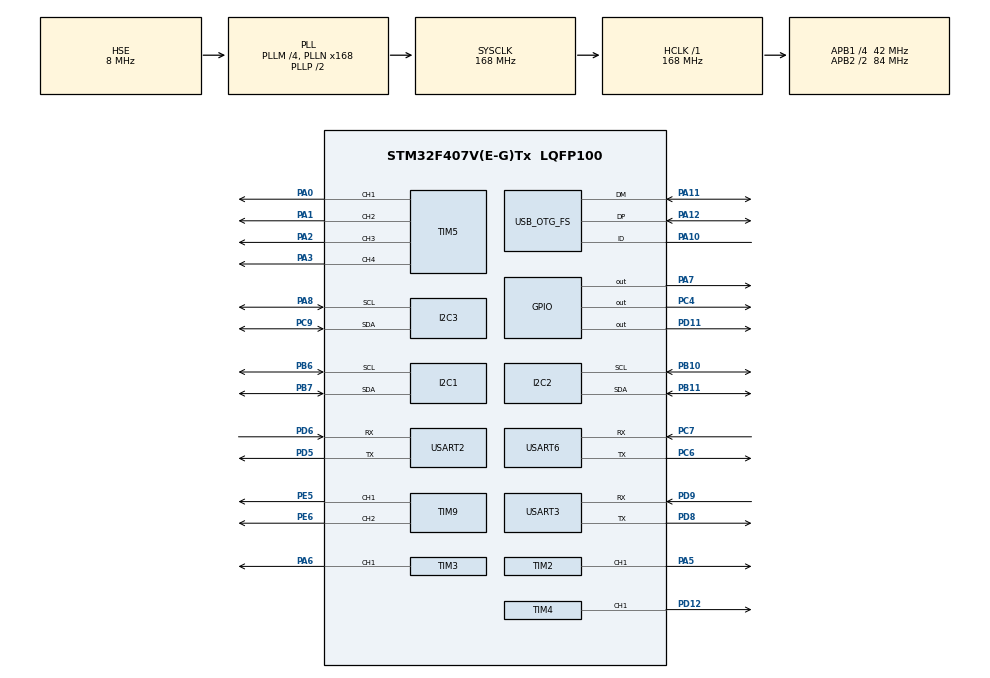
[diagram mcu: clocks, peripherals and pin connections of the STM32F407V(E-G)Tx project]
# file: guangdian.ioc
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Dma.I2C1_RX.0.Direction=DMA_PERIPH_TO_MEMORY
Dma.I2C1_RX.0.FIFOMode=DMA_FIFOMODE_DISABLE
Dma.I2C1_RX.0.Instance=DMA1_Stream0
Dma.I2C1_RX.0.MemDataAlignment=DMA_MDATAALIGN_BYTE
Dma.I2C1_RX.0.MemInc=DMA_MINC_ENABLE
Dma.I2C1_RX.0.Mode=DMA_NORMAL
Dma.I2C1_RX.0.PeriphDataAlignment=DMA_PDATAALIGN_BYTE
Dma.I2C1_RX.0.PeriphInc=DMA_PINC_DISABLE
Dma.I2C1_RX.0.Priority=DMA_PRIORITY_LOW
Dma.I2C1_TX.1.Direction=DMA_MEMORY_TO_PERIPH
Dma.I2C1_TX.1.FIFOMode=DMA_FIFOMODE_DISABLE
Dma.I2C1_TX.1.Instance=DMA1_Stream6
Dma.I2C1_TX.1.MemDataAlignment=DMA_MDATAALIGN_BYTE
Dma.I2C1_TX.1.MemInc=DMA_MINC_ENABLE
Dma.I2C1_TX.1.Mode=DMA_NORMAL
Dma.I2C1_TX.1.PeriphDataAlignment=DMA_PDATAALIGN_BYTE
Dma.I2C1_TX.1.PeriphInc=DMA_PINC_DISABLE
Dma.I2C1_TX.1.Priority=DMA_PRIORITY_LOW
Dma.Request0=I2C1_RX
Dma.Request1=I2C1_TX
Dma.Request2=USART6_RX
Dma.Request3=USART6_TX
Dma.USART6_RX.2.Direction=DMA_PERIPH_TO_MEMORY
Dma.USART6_RX.2.FIFOMode=DMA_FIFOMODE_DISABLE
Dma.USART6_RX.2.Instance=DMA2_Stream1
Dma.USART6_RX.2.MemDataAlignment=DMA_MDATAALIGN_BYTE
Dma.USART6_RX.2.MemInc=DMA_MINC_ENABLE
Dma.USART6_RX.2.Mode=DMA_NORMAL
Dma.USART6_RX.2.PeriphDataAlignment=DMA_PDATAALIGN_BYTE
Dma.USART6_RX.2.PeriphInc=DMA_PINC_DISABLE
Dma.USART6_RX.2.Priority=DMA_PRIORITY_LOW
Dma.USART6_TX.3.Direction=DMA_MEMORY_TO_PERIPH
Dma.USART6_TX.3.FIFOMode=DMA_FIFOMODE_DISABLE
Dma.USART6_TX.3.Instance=DMA2_Stream6
Dma.USART6_TX.3.MemDataAlignment=DMA_MDATAALIGN_BYTE
Dma.USART6_TX.3.MemInc=DMA_MINC_ENABLE
Dma.USART6_TX.3.Mode=DMA_NORMAL
Dma.USART6_TX.3.PeriphDataAlignment=DMA_PDATAALIGN_BYTE
Dma.USART6_TX.3.PeriphInc=DMA_PINC_DISABLE
Dma.USART6_TX.3.Priority=DMA_PRIORITY_LOW
FREERTOS.Tasks01=defaultTask,24,128,StartDefaultTask,Default,NULL,Dynamic,NULL,NULL
Mcu.Family=STM32F4
Mcu.Name=STM32F407V(E-G)Tx
Mcu.Package=LQFP100
NVIC.DMA1_Stream0_IRQn=true\:5\:0\:false\:false\:true\:true\:false\:true\:true
NVIC.DMA1_Stream6_IRQn=true\:5\:0\:false\:false\:true\:true\:false\:true\:true
NVIC.DMA2_Stream1_IRQn=true\:5\:0\:false\:false\:true\:true\:false\:true\:true
NVIC.DMA2_Stream6_IRQn=true\:5\:0\:false\:false\:true\:true\:false\:true\:true
NVIC.PriorityGroup=NVIC_PRIORITYGROUP_4
NVIC.TIM8_TRG_COM_TIM14_IRQn=true\:15\:0\:false\:false\:true\:false\:false\:true\:true
NVIC.TimeBase=TIM8_TRG_COM_TIM14_IRQn
NVIC.TimeBaseIP=TIM14
PA0-WKUP.Signal=S_TIM5_CH1
PA1.Signal=S_TIM5_CH2
PA10.Mode=OTG/Dual_Role_Device
PA10.Signal=USB_OTG_FS_ID
PA11.Mode=OTG/Dual_Role_Device
PA11.Signal=USB_OTG_FS_DM
PA12.Mode=OTG/Dual_Role_Device
PA12.Signal=USB_OTG_FS_DP
PA13.Mode=JTAG_4_pins
PA13.Signal=SYS_JTMS-SWDIO
PA14.Mode=JTAG_4_pins
PA14.Signal=SYS_JTCK-SWCLK
PA15.Mode=JTAG_4_pins
PA15.Signal=SYS_JTDI
PA2.Signal=S_TIM5_CH3
PA3.Signal=S_TIM5_CH4
PA5.Signal=S_TIM2_CH1_ETR
PA6.Signal=S_TIM3_CH1
PA7.Signal=GPIO_Output
PA8.Mode=I2C
PA8.Signal=I2C3_SCL
PB10.Mode=I2C
PB10.Signal=I2C2_SCL
PB11.Mode=I2C
PB11.Signal=I2C2_SDA
PB3.Mode=JTAG_4_pins
PB3.Signal=SYS_JTDO-SWO
PB6.Mode=I2C
PB6.Signal=I2C1_SCL
PB7.Mode=I2C
PB7.Signal=I2C1_SDA
PC4.Signal=GPIO_Output
PC6.Mode=Asynchronous
PC6.Signal=USART6_TX
PC7.Mode=Asynchronous
PC7.Signal=USART6_RX
PC9.Mode=I2C
PC9.Signal=I2C3_SDA
PD11.Signal=GPIO_Output
PD12.Signal=S_TIM4_CH1
PD5.Mode=Asynchronous
PD5.Signal=USART2_TX
PD6.Mode=Asynchronous
PD6.Signal=USART2_RX
PD8.Mode=Asynchronous
PD8.Signal=USART3_TX
PD9.Mode=Asynchronous
PD9.Signal=USART3_RX
PE5.Signal=S_TIM9_CH1
PE6.Signal=S_TIM9_CH2
PH0-OSC_IN.Mode=HSE-External-Oscillator
PH0-OSC_IN.Signal=RCC_OSC_IN
PH1-OSC_OUT.Mode=HSE-External-Oscillator
PH1-OSC_OUT.Signal=RCC_OSC_OUT
ProjectManager.HeapSize=0x200
ProjectManager.StackSize=0x400
ProjectManager.TargetToolchain=MDK-ARM V5.32
RCC.48MHZClocksFreq_Value=48000000
RCC.AHBFreq_Value=168000000
RCC.APB1CLKDivider=RCC_HCLK_DIV4
RCC.APB1Freq_Value=42000000
RCC.APB1TimFreq_Value=84000000
RCC.APB2CLKDivider=RCC_HCLK_DIV2
RCC.APB2Freq_Value=84000000
RCC.APB2TimFreq_Value=168000000
RCC.CortexFreq_Value=168000000
RCC.HCLKFreq_Value=168000000
RCC.HSE_VALUE=8000000
RCC.HSI_VALUE=16000000
RCC.LSE_VALUE=32768
RCC.PLLM=4
RCC.PLLN=168
RCC.PLLQ=7
RCC.SYSCLKFreq_VALUE=168000000
RCC.SYSCLKSource=RCC_SYSCLKSOURCE_PLLCLK
RCC.VCOOutputFreq_Value=336000000
SH.S_TIM2_CH1_ETR.0=TIM2_CH1,PWM Generation1 CH1
SH.S_TIM3_CH1.0=TIM3_CH1,PWM Generation1 CH1
SH.S_TIM4_CH1.0=TIM4_CH1,PWM Generation1 CH1
SH.S_TIM5_CH1.0=TIM5_CH1,PWM Generation1 CH1
SH.S_TIM5_CH2.0=TIM5_CH2,PWM Generation2 CH2
SH.S_TIM5_CH3.0=TIM5_CH3,PWM Generation3 CH3
SH.S_TIM5_CH4.0=TIM5_CH4,PWM Generation4 CH4
SH.S_TIM9_CH1.0=TIM9_CH1,PWM Generation1 CH1
SH.S_TIM9_CH2.0=TIM9_CH2,PWM Generation2 CH2
TIM2.AutoReloadPreload=TIM_AUTORELOAD_PRELOAD_ENABLE
TIM2.Channel-PWM\ Generation1\ CH1=TIM_CHANNEL_1
TIM2.Period=65535
TIM2.Prescaler=83
TIM3.AutoReloadPreload=TIM_AUTORELOAD_PRELOAD_ENABLE
TIM3.Channel-PWM\ Generation1\ CH1=TIM_CHANNEL_1
TIM3.Prescaler=83
TIM4.AutoReloadPreload=TIM_AUTORELOAD_PRELOAD_ENABLE
TIM4.Channel-PWM\ Generation1\ CH1=TIM_CHANNEL_1
TIM4.Prescaler=83
TIM5.Channel-PWM\ Generation1\ CH1=TIM_CHANNEL_1
TIM5.Channel-PWM\ Generation2\ CH2=TIM_CHANNEL_2
TIM5.Channel-PWM\ Generation3\ CH3=TIM_CHANNEL_3
TIM5.Channel-PWM\ Generation4\ CH4=TIM_CHANNEL_4
TIM9.Channel-PWM\ Generation1\ CH1=TIM_CHANNEL_1
TIM9.Channel-PWM\ Generation2\ CH2=TIM_CHANNEL_2
USART2.VirtualMode=VM_ASYNC
USART3.VirtualMode=VM_ASYNC
USART6.VirtualMode=VM_ASYNC
VP_FREERTOS_VS_CMSIS_V2.Mode=CMSIS_V2
VP_SYS_VS_tim14.Mode=TIM14
board=custom

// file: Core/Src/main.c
/* USER CODE BEGIN Header */
/**
  ******************************************************************************
  * @file           : main.c
  * @brief          : Main program body
  ******************************************************************************
  * @attention
  *
  * Copyright (c) 2026 STMicroelectronics.
  * All rights reserved.
  *
  * This software is licensed under terms that can be found in the LICENSE file
  * in the root directory of this software component.
  * If no LICENSE file comes with this software, it is provided AS-IS.
  *
  ******************************************************************************
  */
/* USER CODE END Header */
#include "main.h"
#include "cmsis_os.h"
#include "dma.h"
#include "i2c.h"
#include "tim.h"
#include "usart.h"
#include "usb_otg.h"
#include "gpio.h"

void SystemClock_Config(void);
void MX_FREERTOS_Init(void);

int main(void)
{

  /* MCU Configuration--------------------------------------------------------*/

  /* Reset of all peripherals, Initializes the Flash interface and the Systick. */
  HAL_Init();

  /* USER CODE BEGIN Init */
HAL_Delay(1000);  /* 等待电源稳定, 避免 I2C 总线异常 */
  /* USER CODE END Init */

  /* Configure the system clock */
  SystemClock_Config();

  /* Initialize all configured peripherals */
  MX_GPIO_Init();
  MX_DMA_Init();
  MX_I2C1_Init();
  MX_I2C2_Init();
  MX_I2C3_Init();
  MX_TIM2_Init();
  MX_TIM3_Init();
  MX_TIM4_Init();
  MX_TIM5_Init();
  MX_TIM9_Init();
  MX_USART2_UART_Init();
  MX_USART3_UART_Init();
  MX_USART6_UART_Init();
  MX_USB_OTG_FS_USB_Init();
  /* USER CODE BEGIN 2 */

  // GraySensor_Init();

  /* USER CODE END 2 */

  /* Init scheduler */
  osKernelInitialize();  /* Call init function for freertos objects (in cmsis_os2.c) */
  MX_FREERTOS_Init();

  /* Start scheduler */
  osKernelStart();

  /* We should never get here as control is now taken by the scheduler */

  /* Infinite loop */
  while (1)
  {

  }
}

void SystemClock_Config(void)
{
  RCC_OscInitTypeDef RCC_OscInitStruct = {0};
  RCC_ClkInitTypeDef RCC_ClkInitStruct = {0};

  /** Configure the main internal regulator output voltage
  */
  __HAL_RCC_PWR_CLK_ENABLE();
  __HAL_PWR_VOLTAGESCALING_CONFIG(PWR_REGULATOR_VOLTAGE_SCALE1);

  /** Initializes the RCC Oscillators according to the specified parameters
  * in the RCC_OscInitTypeDef structure.
  */
  RCC_OscInitStruct.OscillatorType = RCC_OSCILLATORTYPE_HSE;
  RCC_OscInitStruct.HSEState = RCC_HSE_ON;
  RCC_OscInitStruct.PLL.PLLState = RCC_PLL_ON;
  RCC_OscInitStruct.PLL.PLLSource = RCC_PLLSOURCE_HSE;
  RCC_OscInitStruct.PLL.PLLM = 4;
  RCC_OscInitStruct.PLL.PLLN = 168;
  RCC_OscInitStruct.PLL.PLLP = RCC_PLLP_DIV2;
  RCC_OscInitStruct.PLL.PLLQ = 7;
  if (HAL_RCC_OscConfig(&RCC_OscInitStruct) != HAL_OK)
  {
    Error_Handler();
  }

  /** Initializes the CPU, AHB and APB buses clocks
  */
  RCC_ClkInitStruct.ClockType = RCC_CLOCKTYPE_HCLK|RCC_CLOCKTYPE_SYSCLK
                              |RCC_CLOCKTYPE_PCLK1|RCC_CLOCKTYPE_PCLK2;
  RCC_ClkInitStruct.SYSCLKSource = RCC_SYSCLKSOURCE_PLLCLK;
  RCC_ClkInitStruct.AHBCLKDivider = RCC_SYSCLK_DIV1;
  RCC_ClkInitStruct.APB1CLKDivider = RCC_HCLK_DIV4;
  RCC_ClkInitStruct.APB2CLKDivider = RCC_HCLK_DIV2;

  if (HAL_RCC_ClockConfig(&RCC_ClkInitStruct, FLASH_LATENCY_5) != HAL_OK)
  {
    Error_Handler();
  }
}

void HAL_TIM_PeriodElapsedCallback(TIM_HandleTypeDef *htim)
{
  if (htim->Instance == TIM14)
  {
    HAL_IncTick();
  }
}

void Error_Handler(void)
{
  __disable_irq();
  while (1)
  {
  }
}

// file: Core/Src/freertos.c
/* USER CODE BEGIN Header */
/**
  ******************************************************************************
  * File Name          : freertos.c
  * Description        : Code for freertos applications
  ******************************************************************************
  * @attention
  *
  * Copyright (c) 2026 STMicroelectronics.
  * All rights reserved.
  *
  * This software is licensed under terms that can be found in the LICENSE file
  * in the root directory of this software component.
  * If no LICENSE file comes with this software, it is provided AS-IS.
  *
  ******************************************************************************
  */
/* USER CODE END Header */

#include "FreeRTOS.h"
#include "task.h"
#include "main.h"
#include "cmsis_os.h"

/* USER CODE BEGIN Includes */
#include <stdio.h>
#include <string.h>
#include "usart.h"
#include "gray_sensor.h"
/* USER CODE END Includes */

/* USER CODE BEGIN PTD */
#include "semphr.h"        // SemaphoreHandle_t, xSemaphoreCreateBinary, xSemaphoreTake
#include "mpu6050.h"       // MPU6050_Init, MPU6050_StartReadDMA, MPU6050_IntegrateYaw, g_mpu6050_data...
#include "chassis.h"       // Chassis_Init, Chassis_Moveto, Chassis_RotateTo, Chassis_IsMoveDone...

extern I2C_HandleTypeDef hi2c1;  // I2C1 句柄 (在 i2c.c 定义)

osThreadId_t gyroTaskHandle;
static const osThreadAttr_t gyroTask_attributes = {
    .name = "gyroTask",
    .stack_size = 512 * 4,
    .priority = (osPriority_t) osPriorityHigh,
};
static void StartGyroTask(void *argument);  // 前向声明

/* USER CODE END PTD */

/* USER CODE BEGIN Variables */
static volatile uint8_t g_chassis_initialized = 0;

/* 信号量驱动架构: I2C DMA 完成信号量 */
SemaphoreHandle_t g_i2c_dma_sem = NULL;

/* 1ms 控制定时器句柄 + 属性: 驱动梯形加减速状态机 */
osTimerId_t controlTimerHandle;
static const osTimerAttr_t controlTimer_attributes = {
    .name = "ControlTimer",
    .attr_bits = 0,
    .cb_mem = NULL,
    .cb_size = 0,
};
/* USER CODE END Variables */
/* Definitions for defaultTask */
osThreadId_t defaultTaskHandle;
const osThreadAttr_t defaultTask_attributes = {
  .name = "defaultTask",
  .stack_size = 256 * 4,
  .priority = (osPriority_t) osPriorityNormal,
};

/* USER CODE BEGIN FunctionPrototypes */
static void ControlTimerCallback(void *argument);
/* USER CODE END FunctionPrototypes */

void StartDefaultTask(void *argument);

void MX_FREERTOS_Init(void); /* (MISRA C 2004 rule 8.1) */

void MX_FREERTOS_Init(void) {

  /* USER CODE BEGIN RTOS_TIMERS */
  /* start timers, add new ones, ... */

  /* ---- 1ms 控制定时器: 驱动梯形加减速状态机 ---- */
  controlTimerHandle = osTimerNew(ControlTimerCallback, osTimerPeriodic, NULL, &controlTimer_attributes);
  /* osTimerStart 移至 StartDefaultTask, 底盘初始化完成后再启动 */

  /* USER CODE END RTOS_TIMERS */

  /* Create the thread(s) */
  /* creation of defaultTask */
  defaultTaskHandle = osThreadNew(StartDefaultTask, NULL, &defaultTask_attributes);

  /* USER CODE BEGIN RTOS_THREADS */
  /* ---- 陀螺仪任务: 1ms DMA 读取 + 500ms 温度更新 ---- */
  gyroTaskHandle = osThreadNew(StartGyroTask, NULL, &gyroTask_attributes);
  /* USER CODE END RTOS_THREADS */

}

void StartDefaultTask(void *argument)
{
  /* USER CODE BEGIN StartDefaultTask */

  /* ---- 初始化底盘 ---- */
  Chassis_Init();
  Chassis_SetHeadingLock(1);
  GraySensor_Init();  // 清空USART3缓冲区 + 确保模块静默
  g_chassis_initialized = 1;
  osTimerStart(controlTimerHandle, 1U);
  /* 等待陀螺仪初始化完成 (MPU6050_Init 约 1s) */
  osDelay(1500);

  /* ---- 任务状态机: 直行780mm → 转-45° → 直行200mm → 灰度矫正倒退 → 前进 → 倒退 ---- */
  enum {
    STATE_FORWARD_1M,
    STATE_ROTATE_45,
    STATE_FORWARD_1M_2,
    STATE_REVERSE_1M,
    STATE_GO_1M,
    STATE_BACK_1M,
    STATE_ZHUAN,
    STATE_GOGO,
    STATE_MOVE_300,
    STATE_MOVE_1000,
    STATE_DONE
  } state = STATE_FORWARD_1M;
  uint8_t state_entered = 0;
  int last_state = -1;       /* 上次状态, 用于仅打印变化 */
  uint16_t rev_cnt = 0;      /* ST:4 诊断计数器 */
  uint8_t g_next_move_compensation = 0;  /* 纠偏补偿(mm), 0=未纠偏 30=已纠偏 */

  for (;;)
  {
    /* 仅状态变化时打印, 减少串口负担 */
    if (state != last_state) {
      char sbuf[20];
      snprintf(sbuf, sizeof(sbuf), "ST:%d\r\n", state);
      HAL_UART_Transmit(&huart2, (uint8_t*)sbuf, (uint16_t)strlen(sbuf), 10);
      last_state = state;
    }
    /* ST:4 诊断: 每50次(约500ms)打印一次电机速度+MoveDone */
    if (state == STATE_REVERSE_1M && ++rev_cnt >= 50) {
      rev_cnt = 0;
      char dbuf[64];
      snprintf(dbuf, sizeof(dbuf),
               "ML:%+.1f MR:%+.1f MD:%d\r\n",
               Motor_GetSpeed(&g_motor_left),
               Motor_GetSpeed(&g_motor_right),
               Chassis_IsMoveDone());
      HAL_UART_Transmit(&huart2, (uint8_t*)dbuf, (uint16_t)strlen(dbuf), 10);
    }
    switch (state) {
      case STATE_FORWARD_1M:
        if (!state_entered) {
          Chassis_Moveto(500.0f);
          state_entered = 1;
        }
        if (Chassis_IsMoveDone()) {
          osDelay(300);
          /* 纠偏了则下一段补偿-30mm侧移误差 */
          uint8_t corrected = GraySensor_CorrectPose(1);
          g_next_move_compensation = corrected; /* 0/10/20/30 */
          state = STATE_MOVE_1000;
          state_entered = 0;
        }
        break;
      case STATE_MOVE_1000:
        if (!state_entered) {
          Chassis_Moveto(587.0f - g_next_move_compensation);
          g_next_move_compensation = 0;  /* 用完清零 */
          state_entered = 1;
        }
        if (Chassis_IsMoveDone()) {
          state = STATE_ROTATE_45;
          state_entered = 0;
        }
        break;
      case STATE_ROTATE_45:
        if (!state_entered) {
          Chassis_Moveto(-390.0f);
          state_entered = 1;
        }
        if (Chassis_IsMoveDone()) {
          state = STATE_FORWARD_1M_2;
          state_entered = 0;
        }
        break;

      case STATE_FORWARD_1M_2:
        if (!state_entered) {
          Chassis_RotateTo(90.f);
          state_entered = 1;
        }
        if (Chassis_IsRotateDone()) {
          /* 停稳后用灰度传感器矫正车姿 (阻塞, 三步全完成才返回) */
          // osDelay(300);
          // GraySensor_CorrectPose(1);
          state = STATE_REVERSE_1M;
          state_entered = 0;
        }
        break;

      case STATE_REVERSE_1M:
        if (!state_entered) {
          Chassis_Moveto(200.0f);
          HAL_UART_Transmit(&huart2, (uint8_t*)"REV CMD\r\n", 9, 10);
          state_entered = 1;
        }
        if (Chassis_IsMoveDone()) {
          osDelay(300);
          uint8_t corrected = GraySensor_CorrectPose(1);
          g_next_move_compensation = corrected; /* 0/10/20/30 */
          state = STATE_MOVE_300;
          state_entered = 0;
        }
        break;
      case STATE_MOVE_300:
        if (!state_entered) {
          Chassis_Moveto(160.0f - g_next_move_compensation);
          g_next_move_compensation = 0;  /* 用完清零 */
          state_entered = 1;
        }
        if (Chassis_IsMoveDone()) {
          state = STATE_GO_1M;
          state_entered = 0;
        }
        break;
      case STATE_GO_1M:
        if (!state_entered) {
          Chassis_Moveto(-390.0f);
          HAL_UART_Transmit(&huart2, (uint8_t*)"GO CMD\r\n", 8, 10);
          state_entered = 1;
        }
        if (Chassis_IsMoveDone()) {
          state = STATE_BACK_1M;
          state_entered = 0;
        }
        break;
      case STATE_BACK_1M:
        if (!state_entered) {
          Chassis_RotateTo(-180);
          HAL_UART_Transmit(&huart2, (uint8_t*)"BACK CMD\r\n", 10, 10);
          state_entered = 1;
        }
        if (Chassis_IsRotateDone()) {
          state = STATE_ZHUAN;
          state_entered = 0;
        }
        break;
				case STATE_ZHUAN:
        if (!state_entered) {
          Chassis_Moveto(390.0f);
          HAL_UART_Transmit(&huart2, (uint8_t*)"BACK CMD\r\n", 10, 10);
          state_entered = 1;
        }
        if (Chassis_IsMoveDone()) {
          state = STATE_GOGO;
          state_entered = 0;
        }
        break;
				case STATE_GOGO:
        if (!state_entered) {
          Chassis_Moveto(-390.f);
          HAL_UART_Transmit(&huart2, (uint8_t*)"BACK CMD\r\n", 10, 10);
          state_entered = 1;
        }
        if (Chassis_IsMoveDone()) {
          state = STATE_DONE;
          state_entered = 0;
        }
        break;
      case STATE_DONE:
        /* 任务完成, 永久等待 */
        break;
    }
    osDelay(10);
  }
  /* USER CODE END StartDefaultTask */
}

/* USER CODE BEGIN Application */

/**
 * @brief  陀螺仪任务: 信号量驱动 DMA 架构
 * @note   优先级高于 defaultTask, 保证传感器数据实时注入
 *         流程:
 *           1. MPU6050_StartReadDMA() 非阻塞启动传输
 *           2. xSemaphoreTake(g_i2c_dma_sem, 5ms) 等待 DMA 完成触发信号量
 *           3. DMA ISR → MPU6050_OnDMAComplete() 解析数据 + 释放信号量
 *           4. MPU6050_IntegrateYaw(dt) 积分角度
 *           5. chassis_feed_gyro(MPU6050_GetYaw()) 注入底盘
 *         超时保护: 5ms 无数据则继续循环, 不卡死
 */
void StartGyroTask(void *argument)
{
  (void)argument;

  /* 创建 DMA 完成信号量 (二进制, 初始不可用) */
  g_i2c_dma_sem = xSemaphoreCreateBinary();
  configASSERT(g_i2c_dma_sem != NULL);

  /* 初始化 MPU6050 (含零偏+温度标定, 约 1s) */
  MPU6050_Init(&hi2c1);

  uint32_t tick = 0;
  uint32_t print_cnt = 0;
  TickType_t last_wake = xTaskGetTickCount();
  const TickType_t period = pdMS_TO_TICKS(1);   /* 目标 1ms 周期 */

  for (;;) {
    /* 启动 DMA 异步读取 6 字节 (非阻塞, 立即返回) */
    MPU6050_StartReadDMA();

    /* 等待 DMA 完成信号量, 超时 5ms 防止 I2C 总线错误时永久阻塞 */
    BaseType_t sem_ret = xSemaphoreTake(g_i2c_dma_sem, pdMS_TO_TICKS(5));

    if (sem_ret == pdTRUE) {
      /* DMA 完成: 数据已由 ISR 中的 MPU6050_OnDMAComplete 解析 */
      /* 基于任务实际时间步长积分 */
      TickType_t now = xTaskGetTickCount();
      float dt = (float)(now - last_wake) * portTICK_PERIOD_MS * 0.001f;
      if (dt <= 0.0f) dt = 0.001f;   /* 最小 1ms */

      MPU6050_IntegrateYaw(dt);
      chassis_feed_gyro(MPU6050_GetYaw());

      /* 每 500ms 更新一次温度并重算温补零偏 */
      if (++tick >= 500) {
        tick = 0;
        MPU6050_UpdateTemperature(&hi2c1);
      }

      /* 每 100ms 通过 USART2 打印角速度与累积角度 (观测零漂) */
      if (++print_cnt >= 100) {
        print_cnt = 0;
        char buf[64];
        int len = snprintf(buf, sizeof(buf),
                          "ZRate:%+.3fd/s Yaw:%+.2fdeg\r\n",
                          g_mpu6050_data.gyro_z_dps,
                          g_mpu6050_data.angle_z_deg);
        if (len > 0 && len < (int)sizeof(buf)) {
          HAL_UART_Transmit(&huart2, (uint8_t *)buf, (uint16_t)len, 10);
        }
        /* 灰度读取结果打印 */
        if (g_gray_read_ok == 1) {
          g_gray_read_ok = 0;
          char gray_buf[128];
          int gray_len = snprintf(gray_buf, sizeof(gray_buf),
              "Gray: x1:%d x2:%d x3:%d x4:%d x5:%d x6:%d x7:%d x8:%d off:%.2f cnt:%d\r\n",
              g_gray_info_last.channels[0], g_gray_info_last.channels[1],
              g_gray_info_last.channels[2], g_gray_info_last.channels[3],
              g_gray_info_last.channels[4], g_gray_info_last.channels[5],
              g_gray_info_last.channels[6], g_gray_info_last.channels[7],
              g_gray_info_last.offset, g_gray_info_last.active_count);
          if (gray_len > 0 && gray_len < (int)sizeof(gray_buf)) {
            HAL_UART_Transmit(&huart2, (uint8_t *)gray_buf, (uint16_t)gray_len, 10);
          }
        } else if (g_gray_read_ok == 2) {
          g_gray_read_ok = 0;
          HAL_UART_Transmit(&huart2, (uint8_t *)"huidu fail rx\r\n", 15, 10);
        }
      }
    }
    /* 若超时: I2C 总线异常, 跳过本次采样, 继续循环不卡死 */

    /* 严格 1ms 周期补偿 (若提前返回则补齐, 保证采样率稳定) */
    vTaskDelayUntil(&last_wake, period);
  }
}

/**
 * @brief  1ms 控制定时器回调: 驱动梯形加减速状态机
 *         osTimerPeriodic 每 1ms 触发, 调用 Chassis_Update()
 */
static void ControlTimerCallback(void *argument)
{
    (void)argument;
    Chassis_Update();
}

/* USER CODE END Application */
